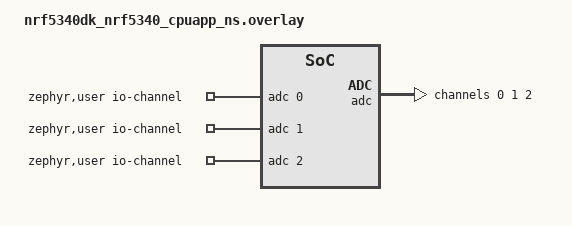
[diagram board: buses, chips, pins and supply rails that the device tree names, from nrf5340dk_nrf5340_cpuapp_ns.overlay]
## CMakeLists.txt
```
#
# Copyright (c) 2018 Nordic Semiconductor
#
# SPDX-License-Identifier: LicenseRef-Nordic-5-Clause
#
cmake_minimum_required(VERSION 3.20.0)

find_package(Zephyr REQUIRED HINTS $ENV{ZEPHYR_BASE})
project(ADC)

# NORDIC SDK APP START
target_sources(app PRIVATE
  src/main.c
  src/my_lbs.c
  src/adc.c
  src/adc.h
)


# NORDIC SDK APP END
zephyr_library_include_directories(.)
```

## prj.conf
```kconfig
#
# Copyright (c) 2018 Nordic Semiconductor
#
# SPDX-License-Identifier: LicenseRef-Nordic-5-Clause
#

# Logger module
CONFIG_LOG=y

# Button and LED library
CONFIG_DK_LIBRARY=y

# Bluetooth LE
CONFIG_BT=y
CONFIG_BT_PERIPHERAL=y
CONFIG_BT_DEVICE_NAME="Ryhma12"

# Increase stack size for the main thread and System Workqueue
CONFIG_SYSTEM_WORKQUEUE_STACK_SIZE=2048
CONFIG_MAIN_STACK_SIZE=2048

CONFIG_ADC=y
```

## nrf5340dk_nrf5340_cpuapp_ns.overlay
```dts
// To get started, press Ctrl+Space to bring up the completion menu and view the available nodes.

// You can also use the buttons in the sidebar to perform actions on nodes.
// Actions currently available include:

// * Enabling / disabling the node
// * Adding the bus to a bus
// * Removing the node
// * Connecting ADC channels

// For more help, browse the DeviceTree documentation at https://docs.zephyrproject.org/latest/guides/dts/index.html
// You can also visit the nRF DeviceTree extension documentation at https://nrfconnect.github.io/vscode-nrf-connect/devicetree/nrfdevicetree.html




/{
	zephyr,user {
		io-channels = <&adc 0>, <&adc 1>, <&adc 2>;
	};
};



&adc {
	status = "okay";
	#address-cells = <1>;
	#size-cells = <0>;

	channel@0 {
		reg = <0>;
		zephyr,gain = "ADC_GAIN_1_6";
		zephyr,reference = "ADC_REF_INTERNAL";
		zephyr,acquisition-time = <ADC_ACQ_TIME_DEFAULT>;
		zephyr,input-positive = <NRF_SAADC_AIN0>; /* P0.03 */
		zephyr,resolution = <12>;
	};

	channel@1 {
		reg = <1>;
		zephyr,gain = "ADC_GAIN_1_6";
		zephyr,reference = "ADC_REF_INTERNAL";
		zephyr,acquisition-time = <ADC_ACQ_TIME_DEFAULT>;
		zephyr,input-positive = <NRF_SAADC_AIN1>;
		zephyr,resolution = <12>;
		//zephyr,oversampling = <8>;
	};

	channel@2 {
		reg = <2>;
		zephyr,gain = "ADC_GAIN_1_6";
		zephyr,reference = "ADC_REF_INTERNAL";
		zephyr,acquisition-time = <ADC_ACQ_TIME_DEFAULT>;
		zephyr,input-positive = <NRF_SAADC_AIN2>;
		zephyr,resolution = <12>;
		//zephyr,oversampling = <8>;
	};


};
```

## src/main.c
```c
/*
 * Copyright (c) 2023 Nordic Semiconductor ASA
 *
 * SPDX-License-Identifier: LicenseRef-Nordic-5-Clause
 */

#include <zephyr/kernel.h>
#include <zephyr/logging/log.h>
#include <zephyr/bluetooth/bluetooth.h>
#include <zephyr/bluetooth/gap.h>
#include <zephyr/bluetooth/uuid.h>
#include <zephyr/bluetooth/conn.h>
#include <dk_buttons_and_leds.h>
#include "my_lbs.h"

#include <zephyr/logging/log.h>
#include <inttypes.h>
#include <stddef.h>
#include <stdint.h>
#include <zephyr/kernel.h>
#include <zephyr/sys/printk.h>
#include <zephyr/sys/util.h>
#include "adc.h"
#include <zephyr/device.h>
#include <zephyr/devicetree.h>




static struct bt_le_adv_param *adv_param = BT_LE_ADV_PARAM(
	(BT_LE_ADV_OPT_CONNECTABLE |
	 BT_LE_ADV_OPT_USE_IDENTITY), /* Connectable advertising and use identity address */
	800, /* Min Advertising Interval 500ms (800*0.625ms) */
	801, /* Max Advertising Interval 500.625ms (801*0.625ms) */
	NULL); /* Set to NULL for undirected advertising */

LOG_MODULE_REGISTER(Lesson4_Exercise2, LOG_LEVEL_INF);

#define DEVICE_NAME CONFIG_BT_DEVICE_NAME
#define DEVICE_NAME_LEN (sizeof(DEVICE_NAME) - 1)

#define RUN_STATUS_LED DK_LED1
#define CON_STATUS_LED DK_LED2
#define USER_LED DK_LED3
#define USER_BUTTON DK_BTN1_MSK

#define STACKSIZE 1024
#define PRIORITY 7

#define RUN_LED_BLINK_INTERVAL 1000
/* STEP 17 - Define the interval at which you want to send data at */
#define NOTIFY_INTERVAL         200
static bool app_button_state;
/* STEP 15 - Define the data you want to stream over Bluetooth LE */
static uint32_t app_sensor_value = 100;

// Lähetettävä anturidata
uint32_t sensor_dir = 0;	

static bool app_button_state;

static const struct bt_data ad[] = {
	BT_DATA_BYTES(BT_DATA_FLAGS, (BT_LE_AD_GENERAL | BT_LE_AD_NO_BREDR)),
	BT_DATA(BT_DATA_NAME_COMPLETE, DEVICE_NAME, DEVICE_NAME_LEN),

};

static const struct bt_data sd[] = {
	BT_DATA_BYTES(BT_DATA_UUID128_ALL, BT_UUID_LBS_VAL),
};

/* STEP 16 - Define a function to simulate the data */
static void simulate_data(void)
{
	app_sensor_value++;
	if (app_sensor_value == 200) {
		app_sensor_value = 100;
	}
}

static void app_led_cb(bool led_state)
{
	dk_set_led(USER_LED, led_state);
}

static bool app_button_cb(void)
{
	
	return app_button_state;
}

/* STEP 18.1 - Define the thread function  */

void send_data_thread(void)
{
	while(1){
		/* Simulate data 
		simulate_data();
		 Send notification, the function sends notifications only if a client is subscribed */

		struct Measurement m = readADCValue();
		m.sensor_dir = sensor_dir; //lisätään sensor_dir m structiin


		printk("x = %d,  y = %d,  z = %d\n",m.sensor_x,m.sensor_y,m.sensor_z);
		
		k_sleep(K_MSEC(1000));
		

		my_lbs_send_sensor_notify(m.sensor_dir);
		k_sleep(K_MSEC(NOTIFY_INTERVAL));

		my_lbs_send_sensor_notify(m.sensor_x);
		k_sleep(K_MSEC(NOTIFY_INTERVAL));

		my_lbs_send_sensor_notify(m.sensor_y);
		k_sleep(K_MSEC(NOTIFY_INTERVAL));

		my_lbs_send_sensor_notify(m.sensor_z);
		k_sleep(K_MSEC(NOTIFY_INTERVAL));

	}
		
}


static struct my_lbs_cb app_callbacks = {
	.led_cb = app_led_cb,
	.button_cb = app_button_cb,
};

static void button_changed(uint32_t button_state, uint32_t has_changed)
{
	if (has_changed & USER_BUTTON) {
		uint32_t user_button_state = button_state & USER_BUTTON;
		/* STEP 6 - Send indication on a button press */
		my_lbs_send_button_state_indicate(user_button_state);
		app_button_state = user_button_state ? true : false;
		

		if (user_button_state) {
			if (sensor_dir >= 5){
				sensor_dir = 0;
			}
			else {
				sensor_dir += 1;
			}
		}
		
	}
}
static void on_connected(struct bt_conn *conn, uint8_t err)
{
	if (err) {
		printk("Connection failed (err %u)\n", err);
		return;
	}

	printk("Connected\n");

	dk_set_led_on(CON_STATUS_LED);
}

static void on_disconnected(struct bt_conn *conn, uint8_t reason)
{
	printk("Disconnected (reason %u)\n", reason);

	dk_set_led_off(CON_STATUS_LED);
}

struct bt_conn_cb connection_callbacks = {
	.connected = on_connected,
	.disconnected = on_disconnected,
};

static int init_button(void)
{
	int err;

	err = dk_buttons_init(button_changed);
	if (err) {
		printk("Cannot init buttons (err: %d)\n", err);
	}

	return err;
}

int main(void)
{
	int blink_status = 0;
	int err;

if(initializeADC() != 0){

}

	LOG_INF("Starting Lesson 4 - Exercise 2 \n");

	err = dk_leds_init();
	if (err) {
		LOG_ERR("LEDs init failed (err %d)\n", err);
		return -1;
	}

	err = init_button();
	if (err) {
		printk("Button init failed (err %d)\n", err);
		return -1;
	}

	err = bt_enable(NULL);
	if (err) {
		LOG_ERR("Bluetooth init failed (err %d)\n", err);
		return -1;
	}
	bt_conn_cb_register(&connection_callbacks);

	err = my_lbs_init(&app_callbacks);
	if (err) {
		printk("Failed to init LBS (err:%d)\n", err);
		return -1;
	}
	LOG_INF("Bluetooth initialized\n");
	err = bt_le_adv_start(adv_param, ad, ARRAY_SIZE(ad), sd, ARRAY_SIZE(sd));
	if (err) {
		LOG_ERR("Advertising failed to start (err %d)\n", err);
		return -1;
	}

	LOG_INF("Advertising successfully started\n");

	for (;;) {
		dk_set_led(RUN_STATUS_LED, (++blink_status) % 2);
		k_sleep(K_MSEC(RUN_LED_BLINK_INTERVAL));
	}
}

/* STEP 18.2 - Define and initialize a thread to send data periodically */
K_THREAD_DEFINE(send_data_thread_id, STACKSIZE, send_data_thread, NULL, NULL,
		NULL, PRIORITY, 0, 0);
```

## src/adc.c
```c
#include <zephyr/device.h>
#include <zephyr/devicetree.h>
#include <zephyr/drivers/adc.h>
#include <hal/nrf_saadc.h>
#include <zephyr/kernel.h>
#include <zephyr/sys/printk.h>
#include <zephyr/sys/util.h>
#include <zephyr/sys/printk.h>
#include "adc.h"

#if !DT_NODE_EXISTS(DT_PATH(zephyr_user)) || \
	!DT_NODE_HAS_PROP(DT_PATH(zephyr_user), io_channels)
#error "No suitable devicetree overlay specified"
#endif

#define DT_SPEC_AND_COMMA(node_id, prop, idx) \
	ADC_DT_SPEC_GET_BY_IDX(node_id, idx),

static const struct adc_dt_spec adc_channels[] = {
	DT_FOREACH_PROP_ELEM(DT_PATH(zephyr_user), io_channels,DT_SPEC_AND_COMMA)
};





void printDebugInfo(void)
{
   printk("printing first adc_dt_spec structure contents for all channels\n");
   for(int i = 0;i<3;i++)
   {
   printk("adc_dt_spec structure, channel %d = \n",i);
   printk("Device pointer = %p\n",adc_channels[1].dev);
   printk("Channel Id = %d\n",adc_channels[i].channel_id);
   printk("Voltage reference = %d\n",adc_channels[i].vref_mv);
   printk("Resolution = %d\n",adc_channels[i].resolution);
   printk("Oversampling = %d\n",adc_channels[i].oversampling);
   printk("\n\n");
   }

}

int initializeADC(void)
{

    int err;
	
	for (size_t i = 0U; i < ARRAY_SIZE(adc_channels); i++) {
		if (!device_is_ready(adc_channels[i].dev)) {
			printk("ADC controller device not ready\n");
			return -1;
		}

		err = adc_channel_setup_dt(&adc_channels[i]);
		if (err < 0) {
			printk("Could not setup channel #%d (%d)\n", i, err);
			return -1;
		}
	}

    return 0;

}

struct Measurement readADCValue(void)
{
	int16_t buf;
    struct Measurement m;
    struct adc_sequence sequence = {
	  .buffer = &buf,

	  .buffer_size = sizeof(buf),
    };

    printk("ADC reading:\n");
	for (size_t i = 0U; i < ARRAY_SIZE(adc_channels); i++) 
    {
		int err;
        int32_t val_mv;
        // For debug use... 
		/*
        printk("- %s, channel %d: ",
		       adc_channels[i].dev->name,
		       adc_channels[i].channel_id);
        */

		(void)adc_sequence_init_dt(&adc_channels[i], &sequence);

		err = adc_read(adc_channels[i].dev, &sequence);
		if (err < 0) {
			printk("Could not read (%d)\n", err);
			continue;
		} else {
            if(i==0)
            {
                m.sensor_x = val_mv;
            }
            else if (i==1)
            {
               m.sensor_y = val_mv;
            }
            else if (i==2)
            {
                m.sensor_z = val_mv;
            }           
			//printk("%"PRId16, buf);
		}

		
		val_mv = buf;
		err = adc_raw_to_millivolts_dt(&adc_channels[i],&val_mv);
		if (err < 0) 
        {
			printk(" (value in mV not available)\n");
		} 
        else 
        {
			if(i==0)
            {
                m.sensor_x = val_mv;
            }
            else if (i==1)
            {
               m.sensor_y = val_mv;
            }
            else if (i==2)
            {
                m.sensor_z = val_mv;
            }           
            //printk(" = %"PRId32" mV\n", val_mv);
		}
	}
    return m;
}
```

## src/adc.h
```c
#ifndef ADC_H_KJJ
#define ADC_H_KJJ

typedef struct Measurement
{
   uint16_t sensor_dir; 
   uint16_t sensor_x;
   uint16_t sensor_y;
   uint16_t sensor_z;
   
};

int initializeADC(void);
struct Measurement readADCValue(void);
void printDebugInfo(void);


#endif
```

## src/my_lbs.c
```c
/*
 * Copyright (c) 2018 Nordic Semiconductor ASA
 *
 * SPDX-License-Identifier: LicenseRef-Nordic-5-Clause
 */

/** @file
 *  @brief LED Button Service (LBS) sample
 */


#include <zephyr/types.h>
#include <stddef.h>
#include <string.h>
#include <errno.h>
#include <zephyr/sys/printk.h>
#include <zephyr/sys/byteorder.h>
#include <zephyr/kernel.h>
#include <zephyr/logging/log.h>
#include <zephyr/bluetooth/bluetooth.h>
#include <zephyr/bluetooth/hci.h>
#include <zephyr/bluetooth/conn.h>
#include <zephyr/bluetooth/uuid.h>
#include <zephyr/bluetooth/gatt.h>


#include "my_lbs.h"
//#include "adc.h"

LOG_MODULE_DECLARE(Lesson4_Exercise2);

static bool notify_mysensor_enabled;
static bool indicate_enabled;
static bool button_state;
static struct my_lbs_cb lbs_cb;


/* STEP 4 - Define an indication parameter */
static struct bt_gatt_indicate_params ind_params;
/* STEP 3 - Implement the configuration change callback function */
static void mylbsbc_ccc_cfg_changed(const struct bt_gatt_attr *attr,
				  uint16_t value)
{
	indicate_enabled = (value == BT_GATT_CCC_INDICATE);
}


/* STEP 13 - Define the configuration change callback function for the MYSENSOR characteristic */
static void mylbsbc_ccc_mysensor_cfg_changed(const struct bt_gatt_attr *attr,
				  uint16_t value)
{
	notify_mysensor_enabled = (value == BT_GATT_CCC_NOTIFY);
}


// This function is called when a remote device has acknowledged the indication at its host layer
static void indicate_cb(struct bt_conn *conn, struct bt_gatt_indicate_params *params, uint8_t err)
{
	LOG_DBG("Indication %s\n", err != 0U ? "fail" : "success");
}

static ssize_t write_led(struct bt_conn *conn, const struct bt_gatt_attr *attr, const void *buf,
			 uint16_t len, uint16_t offset, uint8_t flags)
{
	LOG_DBG("Attribute write, handle: %u, conn: %p", attr->handle, (void *)conn);

	if (len != 1U) {
		LOG_DBG("Write led: Incorrect data length");
		return BT_GATT_ERR(BT_ATT_ERR_INVALID_ATTRIBUTE_LEN);
	}

	if (offset != 0) {
		LOG_DBG("Write led: Incorrect data offset");
		return BT_GATT_ERR(BT_ATT_ERR_INVALID_OFFSET);
	}

	if (lbs_cb.led_cb) {
		// Read the received value
		uint8_t val = *((uint8_t *)buf);

		if (val == 0x00 || val == 0x01) {
			// Call the application callback function to update the LED state
			lbs_cb.led_cb(val ? true : false);
		} else {
			LOG_DBG("Write led: Incorrect value");
			return BT_GATT_ERR(BT_ATT_ERR_VALUE_NOT_ALLOWED);
		}
	}

	return len;
}

static ssize_t read_button(struct bt_conn *conn, const struct bt_gatt_attr *attr, void *buf,
			   uint16_t len, uint16_t offset)
{
	// get a pointer to button_state which is passed in the BT_GATT_CHARACTERISTIC() and stored in attr->user_data
	const char *value = attr->user_data;

	LOG_DBG("Attribute read, handle: %u, conn: %p", attr->handle, (void *)conn);

	if (lbs_cb.button_cb) {
		// Call the application callback function to update the get the current value of the button
		button_state = lbs_cb.button_cb();
		return bt_gatt_attr_read(conn, attr, buf, len, offset, value, sizeof(*value));
	}

	return 0;
}

/* LED Button Service Declaration */

BT_GATT_SERVICE_DEFINE(
	my_lbs_svc, BT_GATT_PRIMARY_SERVICE(BT_UUID_LBS),
	/* STEP 1 - Modify the Button characteristic declaration to support indication */
	BT_GATT_CHARACTERISTIC(BT_UUID_LBS_BUTTON, BT_GATT_CHRC_READ | BT_GATT_CHRC_INDICATE, BT_GATT_PERM_READ,
			       read_button, NULL, &button_state),


	/* STEP 2 - Create and add the Client Characteristic Configuration Descriptor */
	BT_GATT_CCC(mylbsbc_ccc_cfg_changed,
		    BT_GATT_PERM_READ | BT_GATT_PERM_WRITE),


	BT_GATT_CHARACTERISTIC(BT_UUID_LBS_LED, BT_GATT_CHRC_WRITE, BT_GATT_PERM_WRITE, NULL,
			       write_led, NULL),

	/* STEP 12 - Create and add the MYSENSOR characteristic and its CCCD  */
	BT_GATT_CHARACTERISTIC(BT_UUID_LBS_MYSENSOR,
			       BT_GATT_CHRC_READ | BT_GATT_CHRC_NOTIFY,
			       BT_GATT_PERM_READ, NULL, NULL,
			       NULL),

	BT_GATT_CCC(mylbsbc_ccc_mysensor_cfg_changed,
		    BT_GATT_PERM_READ | BT_GATT_PERM_WRITE),
);


/* A function to register application callbacks for the LED and Button characteristics  */
int my_lbs_init(struct my_lbs_cb *callbacks)
{
	if (callbacks) {
		lbs_cb.led_cb = callbacks->led_cb;
		lbs_cb.button_cb = callbacks->button_cb;
	}

	return 0;
}


/* STEP 5.1 - Define the function to send indications */
int my_lbs_send_button_state_indicate(bool button_state)
{
	if (!indicate_enabled) {
		return -EACCES;
	}

	/* STEP 5.2 - Populate the indication */
	ind_params.attr = &my_lbs_svc.attrs[2];
	ind_params.func = indicate_cb;
	ind_params.destroy = NULL;
	ind_params.data = &button_state;
	ind_params.len = sizeof(button_state);
	return bt_gatt_indicate(NULL, &ind_params);
}


/* STEP 14 - Define the function to send notifications for the MYSENSOR characteristic */
int my_lbs_send_sensor_notify(uint32_t sensor_value)
{

	if (!notify_mysensor_enabled) {
		return -EACCES;
	}

	return bt_gatt_notify(NULL, &my_lbs_svc.attrs[7], 
			      &sensor_value,
			      sizeof(sensor_value));
}
/*
struct my_lbs_send_sensor_notifys(sensor_struct)
{
	if (!notify_mysensor_enabled) {
		return -EACCES;
	}

	return bt_gatt_notify(NULL, &my_lbs_svc.attrs[7], 
			      &sensor_struct,
			      sizeof(sensor_struct));
}*/
```

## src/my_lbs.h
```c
/*
 * Copyright (c) 2018 Nordic Semiconductor ASA
 *
 * SPDX-License-Identifier: LicenseRef-Nordic-5-Clause
 */

#ifndef BT_LBS_H_
#define BT_LBS_H_

/**@file
 * @defgroup bt_lbs LED Button Service API
 * @{
 * @brief API for the LED Button Service (LBS).
 */

#ifdef __cplusplus
extern "C" {
#endif

#include <zephyr/types.h>

/** @brief LBS Service UUID. */
#define BT_UUID_LBS_VAL BT_UUID_128_ENCODE(0x00001523, 0x1212, 0xefde, 0x1523, 0x785feabcd123)


/** @brief Button Characteristic UUID. */
#define BT_UUID_LBS_BUTTON_VAL                                                                     \
	BT_UUID_128_ENCODE(0x00001524, 0x1212, 0xefde, 0x1523, 0x785feabcd123)


/** @brief LED Characteristic UUID. */
#define BT_UUID_LBS_LED_VAL BT_UUID_128_ENCODE(0x00001525, 0x1212, 0xefde, 0x1523, 0x785feabcd123)


/* STEP 11.1 - Assign a UUID to the MYSENSOR characteristic */
/** @brief LED Characteristic UUID. */
#define BT_UUID_LBS_MYSENSOR_VAL \
	BT_UUID_128_ENCODE(0x00001526, 0x1212, 0xefde, 0x1523, 0x785feabcd123)
#define BT_UUID_LBS BT_UUID_DECLARE_128(BT_UUID_LBS_VAL)
#define BT_UUID_LBS_BUTTON BT_UUID_DECLARE_128(BT_UUID_LBS_BUTTON_VAL)
#define BT_UUID_LBS_LED BT_UUID_DECLARE_128(BT_UUID_LBS_LED_VAL)


/* STEP 11.2 - Convert the array to a generic UUID */
#define BT_UUID_LBS_MYSENSOR       BT_UUID_DECLARE_128(BT_UUID_LBS_MYSENSOR_VAL)
/** @brief Callback type for when an LED state change is received. */
typedef void (*led_cb_t)(const bool led_state);

/** @brief Callback type for when the button state is pulled. */
typedef bool (*button_cb_t)(void);

/** @brief Callback struct used by the LBS Service. */
struct my_lbs_cb {
	/** LED state change callback. */
	led_cb_t led_cb;
	/** Button read callback. */
	button_cb_t button_cb;
};

/** @brief Initialize the LBS Service.
 *
 * This function registers application callback functions with the My LBS
 * Service
 *
 * @param[in] callbacks Struct containing pointers to callback functions
 *			used by the service. This pointer can be NULL
 *			if no callback functions are defined.
 *
 *
 * @retval 0 If the operation was successful.
 *           Otherwise, a (negative) error code is returned.
 */
int my_lbs_init(struct my_lbs_cb *callbacks);

/** @brief Send the button state as indication.
 *
 * This function sends a binary state, typically the state of a
 * button, to all connected peers.
 *
 * @param[in] button_state The state of the button.
 *
 * @retval 0 If the operation was successful.
 *           Otherwise, a (negative) error code is returned.
 */
int my_lbs_send_button_state_indicate(bool button_state);

/** @brief Send the button state as notification.
 *
 * This function sends a binary state, typically the state of a
 * button, to all connected peers.
 *
 * @param[in] button_state The state of the button.
 *
 * @retval 0 If the operation was successful.
 *           Otherwise, a (negative) error code is returned.
 */
int my_lbs_send_button_state_notify(bool button_state);

/** @brief Send the sensor value as notification.
 *
 * This function sends an uint32_t  value, typically the value
 * of a simulated sensor to all connected peers.
 *
 * @param[in] sensor_value The value of the simulated sensor.
 *
 * @retval 0 If the operation was successful.
 *           Otherwise, a (negative) error code is returned.
 */
int my_lbs_send_sensor_notify(uint32_t sensor_value);



#ifdef __cplusplus
}
#endif


#endif /* BT_LBS_H_ */
```
